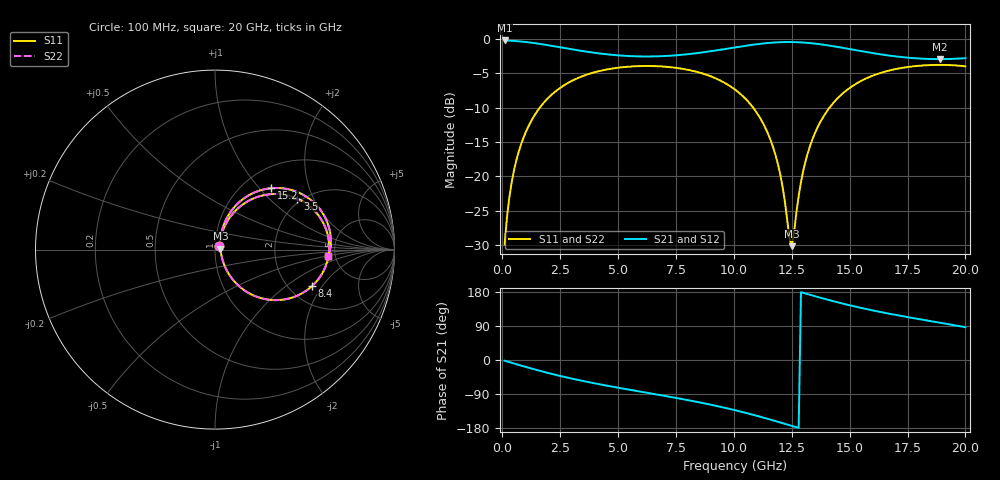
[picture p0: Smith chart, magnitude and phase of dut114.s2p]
! Touchstone file exported from HFSS 2026.1.0
!  File:  C:/ffzhzh/LocalFiles/Ansys_Project_Files/temp_train_TSV_RDL_114_1783046546_46780.aedt
!  Generated:  10:55:36 AM Jul  3, 2026
!  Design:  TSV_RDL
!  Project:  temp_train_TSV_RDL_114_1783046546_46780
! Variables:
!  h_bsmrdl = 5.93um
!  h_ox = 20um
!  h_rdl = 5um
!  h_sub = 53.67um
!  h_tmrdl = 4.33um
!  h_tsv = 53.67um
!  h_via = 3um
!  l_bsmrdl = 118.32um
!  l_sub = 4867.51um
!  l_tmrdl = 994.68um
!  m_sub = 200um
!  pitch = 57.35um
!  r_tsv = 13.95um
!  s_tmrdl = 10um
!  w_bsmrdl = 29.88um
!  w_sub = 500um
!  w_tmrdl = 14.73um
!  x_tsv_center1 = 1002.045um
!  x_tsv_center2 = 1150.245um
!  x_tsv_center3 = 2159.655um
!  x_tsv_center4 = 2307.855um
!  x_tsv_center5 = 3317.265um
!  x_tsv_center6 = 3465.465um
# GHz S MA R 50.000000
! Terminal data exported
! Port[1] = TM_RDL1_1_T1
! Port[2] = TM_RDL5_1_T1
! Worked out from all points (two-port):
!   200 points, 100 MHz to 20 GHz, reference 50 ohm
!   highest |S21| = -0.20 dB at 100 MHz (marker M1); lowest = -2.9 dB at 18.9 GHz (marker M2)
!   |S21| within 3 dB of the highest: start of sweep to end of sweep
!   lowest |S11| = -30.2 dB at 12.5 GHz (marker M3), VSWR 1.06, Z = 53.1 + j0.615 ohm
!   |S11| at or under -10 dB: start of sweep to 1.619 GHz; 10.83 GHz to 14.13 GHz (3.297 GHz wide, 26.4 % of centre)
!   |S22| runs from -30.2 to -3.8 dB; largest |S21 - S12| = 1.7e-14
!   S11 on the Smith chart (normalised r, x): 100 MHz: 1.05, +0.04; 3.5 GHz: 1.90, +1.52; 8.4 GHz: 2.63, -1.61; 15.2 GHz: 1.33, +1.16; 20 GHz: 4.38, -0.55
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0.1  0.03195 42.0  0.9767 -1.9  0.9767 -1.9  0.03195 42.0
! Gamma 0 0 0 0
! Port Impedance 50 0 50 0
0.3  0.06948 64.0  0.9737 -5.6  0.9737 -5.6  0.06948 64.0
0.5  0.1096 67.5  0.9692 -9.2  0.9692 -9.2  0.1096 67.5
1.1  0.226 63.5  0.9482 -19.8  0.9482 -19.8  0.226 63.5
2.1  0.3891 49.9  0.8947 -36.1  0.8947 -36.1  0.3891 49.9
3.5  0.5395 31.7  0.8158 -55.6  0.8158 -55.6  0.5395 31.7
5.1  0.6212 13.8  0.7585 -74.2  0.7585 -74.2  0.6212 13.8
6.8  0.6328 -3.6  0.7494 -92.4  0.7494 -92.4  0.6327 -3.6
8.4  0.577 -20.7  0.7894 -110.4  0.7894 -110.4  0.577 -20.7
10.1  0.4224 -41.6  0.872 -133.2  0.872 -133.2  0.4224 -41.6
11  0.289 -53.5  0.9175 -147.4  0.9175 -147.4  0.289 -53.5
11.6  0.1811 -59.8  0.9399 -157.7  0.9399 -157.7  0.1811 -59.9
12  0.1041 -59.3  0.9487 -164.8  0.9487 -164.8  0.104 -59.3
12.4  0.0354 -23.0  0.9514 -172.0  0.9514 -172.0  0.03534 -23.0
12.5  0.03102 10.7  0.951 -173.8  0.951 -173.8  0.03098 10.8
12.9  0.09097 67.8  0.9457 178.9  0.9457 178.9  0.09099 67.8
13.4  0.1872 69.5  0.9307 170.1  0.9307 170.1  0.1873 69.5
14.2  0.3274 60.5  0.8922 156.6  0.8922 156.6  0.3274 60.5
15.2  0.4638 47.5  0.8338 141.5  0.8338 141.5  0.4638 47.5
16.7  0.5894 29.8  0.7582 122.3  0.7582 122.3  0.5894 29.8
18.9  0.6483 7.5  0.7142 98.3  0.7142 98.3  0.6484 7.5
20  0.6332 -3.4  0.7261 86.6  0.7261 86.6  0.6333 -3.4
